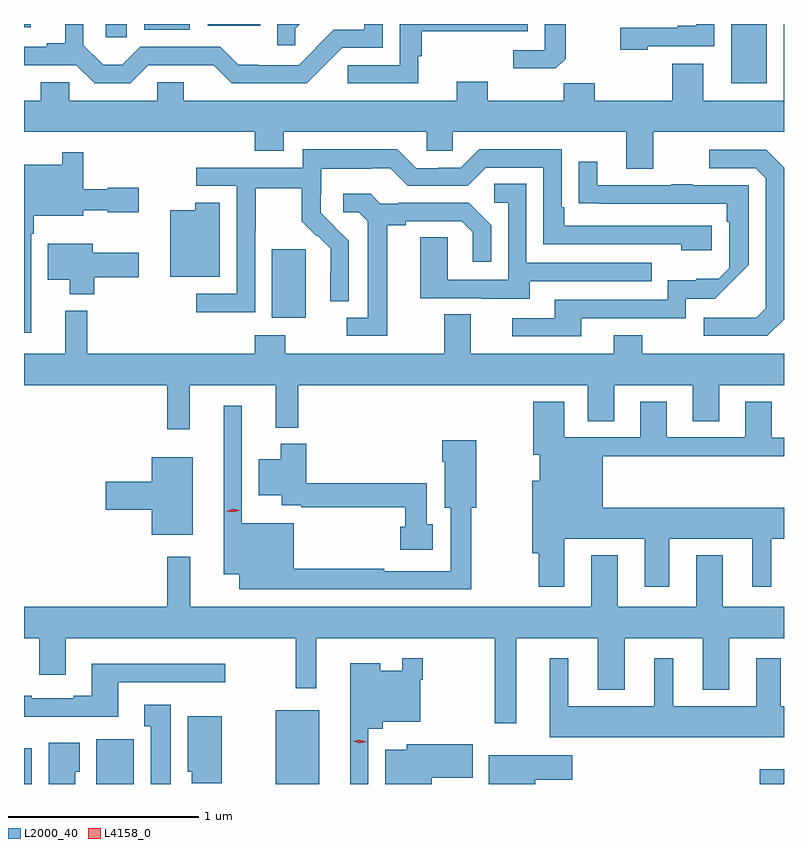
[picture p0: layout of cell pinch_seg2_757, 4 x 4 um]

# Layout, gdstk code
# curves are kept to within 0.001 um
import gdstk
lib = gdstk.Library(unit=1e-6, precision=1e-09)
def R(c, l, rs):  # rectangles x0, y0, x1, y1
    for r in rs: c.add(gdstk.rectangle(r[:2], r[2:], *l))
def P(c, l, *ps):  # polygons
    for p in ps: c.add(gdstk.Polygon(p, *l))
L2000_40 = (2000, 40)
L4158_0 = (4158, 0)

pinch_seg2_757 = lib.new_cell('pinch_seg2_757')
R(pinch_seg2_757, L2000_40, [(729.452,636.212,729.493,636.4), (729.833,636.212,730.03,636.448), (730.778,636.212,731.005,636.601), (733.325,636.212,733.452,636.289), (730.757,638.666,730.936,639.027), (733.175,639.899,733.36,640.212), (729.882,640.141,729.994,640.212), (730.085,640.181,730.324,640.212), (729.452,640.196,729.487,640.212), (730.418,640.202,730.696,640.212)])
P(pinch_seg2_757, L2000_40, [(730.107,639.996),(730.451,639.995),(730.545,639.9),(730.939,639.9),(731.127,640.086),(731.34,640.086),(731.34,640.212),(731.244,640.212),(731.244,640.182),(731.081,640.182),(730.987,640.088),(730.989,640.086),(730.899,639.996),(730.684,639.996),(730.684,639.998),(730.58,639.998),(730.485,640.092),(730.065,640.092),(729.97,639.997),(729.869,639.997),(729.765,640.101),(729.765,640.212),(729.668,640.212),(729.668,640.112),(729.572,640.112),(729.572,640.092),(729.452,640.092),(729.452,639.995),(729.728,639.996),(729.824,639.9),(730.011,639.9)],
  [(732.303,640.029),(732.303,640.212),(732.192,640.212),(732.192,640.074),(732.027,640.074),(732.027,639.978),(732.251,639.978)],
  [(732.735,640.095),(733.086,640.095),(733.086,640.212),(732.99,640.212),(732.99,640.204),(732.893,640.204),(732.893,640.191),(732.591,640.191),(732.591,640.076),(732.735,640.076)],
  [(730.88,640.188),(730.904,640.212),(730.785,640.212),(730.785,640.101),(730.88,640.101)],
  [(732.763,639.644),(733.452,639.644),(733.452,640.212),(733.451,640.212),(733.451,639.808),(733.027,639.808),(733.027,640.003),(732.863,640.003),(732.863,639.808),(732.457,639.808),(732.457,639.901),(732.293,639.901),(732.293,639.808),(731.893,639.808),(731.893,639.907),(731.729,639.907),(731.729,639.808),(730.294,639.808),(730.294,639.906),(730.152,639.906),(730.152,639.808),(729.69,639.808),(729.69,639.906),(729.539,639.906),(729.539,639.808),(729.452,639.808),(729.452,639.644),(730.667,639.644),(730.667,639.545),(730.819,639.545),(730.819,639.644),(731.571,639.644),(731.571,639.546),(731.709,639.546),(731.709,639.644),(732.623,639.644),(732.623,639.45),(732.763,639.45)],
  [(731.528,640.043),(731.546,640.043),(731.546,640.174),(732.103,640.174),(732.103,640.212),(731.43,640.212),(731.43,639.996),(731.157,639.996),(731.157,639.9),(731.528,639.9)],
  [(730.668,639.124),(730.671,639.124),(730.671,639.348),(730.915,639.348),(730.915,639.173),(730.992,639.096),(730.995,639.099),(731.066,639.029),(731.066,638.906),(731.064,638.906),(731.064,638.752),(731.16,638.752),(731.16,639.07),(731.014,639.218),(731.014,639.315),(731.016,639.315),(731.016,639.449),(731.279,639.449),(731.279,639.453),(731.379,639.453),(731.472,639.36),(731.787,639.36),(731.883,639.456),(732.186,639.456),(732.186,639.054),(732.911,639.054),(732.911,639.02),(733.072,639.02),(733.072,639.15),(732.295,639.15),(732.295,639.247),(732.282,639.247),(732.282,639.552),(731.847,639.552),(731.751,639.456),(731.633,639.456),(731.633,639.453),(731.517,639.453),(731.417,639.553),(730.92,639.553),(730.92,639.456),(730.359,639.456),(730.359,639.36),(730.572,639.36),(730.572,638.793),(730.359,638.793),(730.359,638.695),(730.668,638.695)],
  [(733.452,638.658),(733.452,639.456),(733.359,639.549),(733.059,639.549),(733.059,639.453),(733.302,639.453),(733.356,639.399),(733.355,638.717),(733.305,638.667),(733.029,638.667),(733.029,638.571),(733.365,638.571)],
  [(729.489,639.107),(729.502,639.107),(729.502,639.203),(729.763,639.203),(729.763,639.233),(729.894,639.233),(729.894,639.221),(730.057,639.221),(730.057,639.351),(729.894,639.351),(729.894,639.343),(729.763,639.343),(729.763,639.538),(729.654,639.538),(729.654,639.472),(729.452,639.472),(729.452,638.586),(729.489,638.586)],
  [(732.385,638.664),(732.936,638.664),(732.936,638.766),(733.087,638.766),(733.266,638.945),(733.266,639.363),(732.971,639.363),(732.971,639.368),(732.859,639.368),(732.859,639.363),(732.469,639.363),(732.469,639.487),(732.373,639.487),(732.373,639.268),(733.15,639.267),(733.15,639.17),(733.164,639.17),(733.164,638.927),(733.109,638.872),(732.99,638.872),(732.99,638.863),(732.84,638.863),(732.84,638.76),(732.245,638.76),(732.245,638.664),(732.021,638.664),(732.021,638.568),(732.385,638.568)],
  [(732.115,638.859),(732.755,638.859),(732.755,638.955),(732.096,638.955),(732.096,639.371),(731.928,639.371),(731.928,639.27),(732,639.27),(732,638.865),(731.682,638.865),(731.682,639.089),(731.537,639.089),(731.537,638.769),(731.861,638.769),(731.861,638.765),(732.115,638.765)],
  [(731.365,639.152),(731.461,639.152),(731.461,639.174),(731.756,639.174),(731.813,639.117),(731.813,638.961),(731.91,638.961),(731.91,639.154),(731.794,639.27),(731.422,639.27),(731.422,639.267),(731.328,639.267),(731.276,639.319),(731.133,639.319),(731.133,639.222),(731.214,639.222),(731.261,639.175),(731.261,638.667),(731.151,638.667),(731.151,638.571),(731.365,638.571)],
  [(730.483,639.271),(730.352,639.271),(730.352,639.232),(730.223,639.232),(730.223,638.882),(730.483,638.882)],
  [(729.822,638.878),(730.057,638.878),(730.057,639.007),(729.814,639.007),(729.814,639.055),(729.578,639.055),(729.578,638.867),(729.692,638.867),(729.692,638.789),(729.822,638.789)],
  [(730.325,638.312),(730.778,638.312),(730.778,638.087),(730.895,638.087),(730.895,638.312),(732.419,638.312),(732.419,638.122),(732.559,638.122),(732.559,638.312),(732.971,638.312),(732.971,638.122),(733.111,638.122),(733.111,638.312),(733.452,638.312),(733.452,638.476),(732.705,638.476),(732.705,638.575),(732.557,638.575),(732.557,638.476),(731.803,638.476),(731.803,638.684),(731.663,638.684),(731.663,638.476),(730.827,638.476),(730.827,638.575),(730.667,638.575),(730.667,638.476),(729.785,638.476),(729.785,638.704),(729.668,638.704),(729.668,638.476),(729.452,638.476),(729.452,638.312),(730.207,638.312),(730.207,638.079),(730.325,638.079)],
  [(732.295,637.502),(732.719,637.502),(732.719,637.251),(732.847,637.251),(732.847,637.502),(733.286,637.502),(733.286,637.251),(733.384,637.251),(733.384,637.502),(733.452,637.502),(733.452,637.666),(732.499,637.666),(732.499,637.936),(733.452,637.936),(733.452,638.034),(733.387,638.034),(733.387,638.224),(733.247,638.224),(733.247,638.037),(732.835,638.037),(732.835,638.224),(732.695,638.224),(732.695,638.037),(732.295,638.037),(732.295,638.224),(732.131,638.224),(732.131,637.944),(732.167,637.944),(732.167,637.807),(732.128,637.807),(732.128,637.427),(732.16,637.427),(732.16,637.251),(732.295,637.251)],
  [(731.806,637.667),(731.832,637.667),(731.832,638.02),(731.654,638.02),(731.654,637.907),(731.666,637.907),(731.666,637.667),(731.697,637.667),(731.697,637.332),(731.348,637.332),(731.348,637.345),(730.873,637.345),(730.873,637.585),(730.599,637.585),(730.599,638.203),(730.502,638.203),(730.502,637.316),(730.586,637.316),(730.586,637.236),(731.806,637.236)],
  [(731.602,637.58),(731.571,637.58),(731.571,637.796),(730.937,637.796),(730.937,638.002),(730.802,638.002),(730.802,637.921),(730.688,637.921),(730.688,637.733),(730.808,637.733),(730.808,637.68),(730.912,637.68),(730.912,637.668),(731.459,637.668),(731.459,637.567),(731.432,637.567),(731.432,637.445),(731.602,637.445)],
  [(730.339,637.933),(730.124,637.933),(730.124,637.802),(729.882,637.802),(729.882,637.655),(730.124,637.655),(730.124,637.523),(730.339,637.523)],
  [(732.043,636.98),(732.473,636.98),(732.473,636.707),(732.613,636.707),(732.613,636.98),(733.025,636.98),(733.025,636.707),(733.165,636.707),(733.165,636.98),(733.452,636.98),(733.452,637.144),(733.129,637.144),(733.129,637.417),(732.989,637.417),(732.989,637.144),(732.577,637.144),(732.577,637.417),(732.437,637.417),(732.437,637.144),(730.328,637.144),(730.328,637.408),(730.207,637.408),(730.207,637.144),(729.452,637.144),(729.452,636.98),(729.533,636.98),(729.533,636.786),(729.673,636.786),(729.673,636.98),(730.881,636.98),(730.881,636.717),(730.99,636.717),(730.99,636.98),(731.929,636.98),(731.929,636.531),(732.043,636.531)],
  [(731.265,636.503),(731.339,636.503),(731.339,636.539),(731.538,636.539),(731.538,636.761),(731.551,636.761),(731.551,636.874),(731.442,636.874),(731.442,636.808),(731.326,636.808),(731.326,636.847),(731.168,636.847),(731.168,636.212),(731.265,636.212)],
  [(733.452,636.622),(733.435,636.622),(733.435,636.874),(733.307,636.874),(733.307,636.622),(732.868,636.622),(732.868,636.874),(732.77,636.874),(732.77,636.622),(732.316,636.622),(732.316,636.874),(732.218,636.874),(732.218,636.458),(733.452,636.458)],
  [(729.949,636.747),(730.51,636.747),(730.51,636.844),(729.809,636.844),(729.809,636.676),(729.713,636.676),(729.713,636.663),(729.493,636.663),(729.493,636.676),(729.452,636.676),(729.452,636.566),(729.949,636.566)],
  [(730.225,636.628),(730.085,636.628),(730.085,636.515),(730.118,636.515),(730.118,636.212),(730.225,636.212)],
  [(730.492,636.568),(730.313,636.568),(730.313,636.276),(730.334,636.276),(730.334,636.216),(730.492,636.216)],
  [(729.721,636.276),(729.745,636.276),(729.745,636.43),(729.581,636.43),(729.581,636.212),(729.721,636.212)],
  [(731.598,636.244),(731.814,636.244),(731.814,636.422),(731.466,636.422),(731.466,636.391),(731.354,636.391),(731.354,636.212),(731.598,636.212)],
  [(732.142,636.235),(732.337,636.235),(732.337,636.364),(731.899,636.364),(731.899,636.212),(732.142,636.212)])
P(pinch_seg2_757, L4158_0, [(731.219,636.426),(731.184,636.438),(731.184,636.438),(731.184,636.438),(731.22,636.446),(731.254,636.434),(731.255,636.434),(731.254,636.434)],
  [(730.553,637.641),(730.517,637.648),(730.517,637.648),(730.517,637.648),(730.552,637.661),(730.588,637.653),(730.589,637.653),(730.588,637.653)])

lib.write_gds('pinch_seg2_757.gds')
